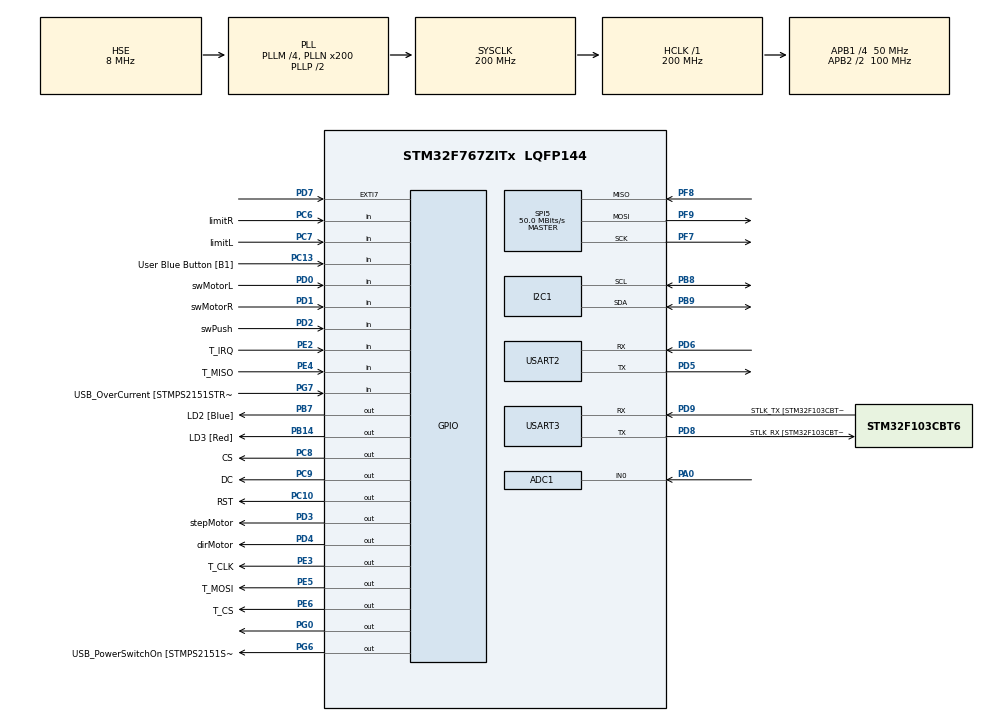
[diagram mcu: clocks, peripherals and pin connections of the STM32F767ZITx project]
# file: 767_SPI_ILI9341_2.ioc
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ADC1.Channel-0\#ChannelRegularConversion=ADC_CHANNEL_0
ADC1.NbrOfConversionFlag=1
ADC1.Rank-0\#ChannelRegularConversion=1
ADC1.SamplingTime-0\#ChannelRegularConversion=ADC_SAMPLETIME_3CYCLES
ADC1.master=1
CORTEX_M7.ART_ACCLERATOR_ENABLE=1
CORTEX_M7.CPU_DCache=Enabled
CORTEX_M7.CPU_ICache=Enabled
CORTEX_M7.PREFETCH_ENABLE=1
I2C1.Timing=0x00C0EAFF
Mcu.Family=STM32F7
Mcu.Name=STM32F767ZITx
Mcu.Package=LQFP144
NVIC.EXTI9_5_IRQn=true\:1\:0\:true\:false\:true\:true\:true\:true
NVIC.PriorityGroup=NVIC_PRIORITYGROUP_4
NVIC.TIM2_IRQn=true\:1\:0\:true\:false\:true\:true\:true\:true
NVIC.USART2_IRQn=true\:1\:0\:true\:false\:true\:true\:true\:true
PA0/WKUP.Signal=ADCx_IN0
PA1.GPIO_Label=RMII_REF_CLK [LAN8742A-CZ-TR_REFCLK0]
PA1.Signal=ETH_REF_CLK
PA13.GPIO_Label=TMS
PA13.Mode=Serial_Wire
PA13.Signal=SYS_JTMS-SWDIO
PA14.GPIO_Label=TCK
PA14.Mode=Serial_Wire
PA14.Signal=SYS_JTCK-SWCLK
PA2.GPIO_Label=RMII_MDIO [LAN8742A-CZ-TR_MDIO]
PA2.Signal=ETH_MDIO
PA7.GPIO_Label=RMII_CRS_DV [LAN8742A-CZ-TR_CRS_DV]
PA7.Signal=ETH_CRS_DV
PB13.GPIO_Label=RMII_TXD1 [LAN8742A-CZ-TR_TXD1]
PB13.Signal=ETH_TXD1
PB14.GPIO_Label=LD3 [Red]
PB14.Signal=GPIO_Output
PB3.GPIO_Label=SWO
PB3.Signal=SYS_JTDO-SWO
PB7.GPIO_Label=LD2 [Blue]
PB7.Signal=GPIO_Output
PB8.Mode=I2C
PB8.Signal=I2C1_SCL
PB9.Mode=I2C
PB9.Signal=I2C1_SDA
PC1.GPIO_Label=RMII_MDC [LAN8742A-CZ-TR_MDC]
PC1.Signal=ETH_MDC
PC10.GPIO_Label=RST
PC10.GPIO_Speed=GPIO_SPEED_FREQ_VERY_HIGH
PC10.Signal=GPIO_Output
PC13.GPIO_Label=User Blue Button [B1]
PC13.Signal=GPIO_Input
PC14/OSC32_IN.Mode=LSE-External-Oscillator
PC14/OSC32_IN.Signal=RCC_OSC32_IN
PC15/OSC32_OUT.Mode=LSE-External-Oscillator
PC15/OSC32_OUT.Signal=RCC_OSC32_OUT
PC4.GPIO_Label=RMII_RXD0 [LAN8742A-CZ-TR_RXD0]
PC4.Signal=ETH_RXD0
PC5.GPIO_Label=RMII_RXD1 [LAN8742A-CZ-TR_RXD1]
PC5.Signal=ETH_RXD1
PC6.GPIO_Label=limitR
PC6.Signal=GPIO_Input
PC7.GPIO_Label=limitL
PC7.Signal=GPIO_Input
PC8.GPIO_Label=CS
PC8.GPIO_Speed=GPIO_SPEED_FREQ_VERY_HIGH
PC8.Signal=GPIO_Output
PC9.GPIO_Label=DC
PC9.GPIO_Speed=GPIO_SPEED_FREQ_VERY_HIGH
PC9.Signal=GPIO_Output
PD0.GPIO_Label=swMotorL
PD0.Signal=GPIO_Input
PD1.GPIO_Label=swMotorR
PD1.Signal=GPIO_Input
PD2.GPIO_Label=swPush
PD2.Signal=GPIO_Input
PD3.GPIO_Label=stepMotor
PD3.Signal=GPIO_Output
PD4.GPIO_Label=dirMotor
PD4.Signal=GPIO_Output
PD5.Mode=Asynchronous
PD5.Signal=USART2_TX
PD6.Mode=Asynchronous
PD6.Signal=USART2_RX
PD7.Signal=GPXTI7
PD8.GPIO_Label=STLK_RX [STM32F103CBT6_PA3]
PD8.Mode=Asynchronous
PD8.Signal=USART3_TX
PD9.GPIO_Label=STLK_TX [STM32F103CBT6_PA2]
PD9.Mode=Asynchronous
PD9.Signal=USART3_RX
PE2.GPIO_Label=T_IRQ
PE2.Signal=GPIO_Input
PE3.GPIO_Label=T_CLK
PE3.GPIO_Speed=GPIO_SPEED_FREQ_VERY_HIGH
PE3.Signal=GPIO_Output
PE4.GPIO_Label=T_MISO
PE4.Signal=GPIO_Input
PE5.GPIO_Label=T_MOSI
PE5.GPIO_Speed=GPIO_SPEED_FREQ_VERY_HIGH
PE5.Signal=GPIO_Output
PE6.GPIO_Label=T_CS
PE6.GPIO_Speed=GPIO_SPEED_FREQ_VERY_HIGH
PE6.Signal=GPIO_Output
PF7.Mode=Full_Duplex_Master
PF7.Signal=SPI5_SCK
PF8.Mode=Full_Duplex_Master
PF8.Signal=SPI5_MISO
PF9.Mode=Full_Duplex_Master
PF9.Signal=SPI5_MOSI
PG0.Signal=GPIO_Output
PG11.GPIO_Label=RMII_TX_EN [LAN8742A-CZ-TR_TXEN]
PG11.Signal=ETH_TX_EN
PG13.GPIO_Label=RMII_TXD0 [LAN8742A-CZ-TR_TXD0]
PG13.Signal=ETH_TXD0
PG6.GPIO_Label=USB_PowerSwitchOn [STMPS2151STR_EN]
PG6.Signal=GPIO_Output
PG7.GPIO_Label=USB_OverCurrent [STMPS2151STR_FAULT]
PG7.Signal=GPIO_Input
PH0/OSC_IN.GPIO_Label=MCO [STM32F103CBT6_PA8]
PH0/OSC_IN.Mode=HSE-External-Clock-Source
PH0/OSC_IN.Signal=RCC_OSC_IN
PH1/OSC_OUT.Mode=HSE-External-Clock-Source
PH1/OSC_OUT.Signal=RCC_OSC_OUT
ProjectManager.HeapSize=0x200
ProjectManager.StackSize=0x400
ProjectManager.TargetToolchain=STM32CubeIDE
RCC.48MHZClocksFreq_Value=24000000
RCC.AHBFreq_Value=200000000
RCC.APB1CLKDivider=RCC_HCLK_DIV4
RCC.APB1Freq_Value=50000000
RCC.APB1TimFreq_Value=100000000
RCC.APB2CLKDivider=RCC_HCLK_DIV2
RCC.APB2Freq_Value=100000000
RCC.APB2TimFreq_Value=200000000
RCC.CortexFreq_Value=200000000
RCC.HCLKFreq_Value=200000000
RCC.HSE_VALUE=8000000
RCC.HSI_VALUE=16000000
RCC.PLLM=4
RCC.PLLMUL=RCC_PLL_MUL9
RCC.PLLN=200
RCC.PLLQ=9
RCC.PLLSourceVirtual=RCC_PLLSOURCE_HSE
RCC.PRESCALERUSB=RCC_USBCLKSOURCE_PLL_DIV1_5
RCC.SYSCLKFreq_VALUE=200000000
RCC.SYSCLKSource=RCC_SYSCLKSOURCE_PLLCLK
RCC.SYSCLKSourceVirtual=RCC_SYSCLKSOURCE_PLLCLK
RCC.USBFreq_Value=44444444.44444445
RCC.VCOOutputFreq_Value=400000000
SH.ADCx_IN0.0=ADC1_IN0,IN0
SPI5.CalculateBaudRate=50.0 MBits/s
SPI5.DataSize=SPI_DATASIZE_8BIT
SPI5.Direction=SPI_DIRECTION_2LINES
SPI5.Mode=SPI_MODE_MASTER
SPI5.NSSPMode=SPI_NSS_PULSE_DISABLE
SPI5.VirtualType=VM_MASTER
TIM1.ClockDivision=TIM_CLOCKDIVISION_DIV2
TIM1.Period=0
TIM1.Prescaler=10000-1
TIM2.Period=10-1
TIM2.Prescaler=100-1
USART2.VirtualMode-Asynchronous=VM_ASYNC
USART3.VirtualMode-Asynchronous=VM_ASYNC
VP_RNG_VS_RNG.Mode=RNG_Activate
VP_TIM1_VS_ClockSourceINT.Mode=Internal
VP_TIM2_VS_ClockSourceINT.Mode=Internal
board=NUCLEO-F767ZI

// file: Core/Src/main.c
/* USER CODE BEGIN Header */
/**
 ******************************************************************************
 * @file           : main.c
 * @brief          : Main program body
 ******************************************************************************
 * @attention
 *
 * <h2><center>&copy; Copyright (c) 2021 STMicroelectronics.
 * All rights reserved.</center></h2>
 *
 * This software component is licensed by ST under BSD 3-Clause license,
 * the "License"; You may not use this file except in compliance with the
 * License. You may obtain a copy of the License at:
 *                        opensource.org/licenses/BSD-3-Clause
 *
 ******************************************************************************
 */
/* USER CODE END Header */
#include "main.h"
#include "adc.h"
#include "i2c.h"
#include "rng.h"
#include "spi.h"
#include "tim.h"
#include "usart.h"
#include "gpio.h"

/* USER CODE BEGIN Includes */
#include "stdio.h"
#include "ILI9341_Touchscreen.h"

#include "ILI9341_STM32_Driver.h"
#include "ILI9341_GFX.h"
#include "math.h"
#include "snow_tiger.h"
#include "img_view.h"
/* USER CODE END Includes */

/* USER CODE BEGIN PV */
/* Private variables ---------------------------------------------------------*/
uint16_t adc_val;
uint32_t count;

HAL_StatusTypeDef status;

void doMotor();

uint8_t mode = 0;
char ch;
uint8_t pWin = 0;

uint8_t playState = 0;
uint8_t isDrawButton = 0;

uint8_t stepsPerRevolution = 0;
uint16_t delayStep = 70;
uint32_t prevActionMotor = 0;
uint8_t isHigh = 0;
uint16_t Hp = 1;
uint16_t lastHp = 0;
uint32_t countPlayTime = 1;
uint32_t lastCountPlayTime = 0;
uint32_t lastCountTime = 0;

uint16_t p2Score;
char fromP2[20] = "";
uint8_t k = 0;

uint32_t debounceSw = 0;

uint8_t readSw1 ;
	uint8_t readSw2 ;
	uint8_t readLimitSw1 ;
	uint8_t readLimitSw2 ;
/* USER CODE END PV */

void SystemClock_Config(void);
/* USER CODE BEGIN PFP */
/* Private function prototypes -----------------------------------------------*/
/* USER CODE END PFP */

int main(void)
{

  /* Enable I-Cache---------------------------------------------------------*/
  SCB_EnableICache();

  /* Enable D-Cache---------------------------------------------------------*/
  SCB_EnableDCache();

  /* MCU Configuration--------------------------------------------------------*/

  /* Reset of all peripherals, Initializes the Flash interface and the Systick. */
  HAL_Init();

  /* Configure the system clock */
  SystemClock_Config();

  /* Initialize all configured peripherals */
  MX_GPIO_Init();
  MX_USART3_UART_Init();
  MX_SPI5_Init();
  MX_TIM1_Init();
  MX_RNG_Init();
  MX_I2C1_Init();
  MX_TIM2_Init();
  MX_ADC1_Init();
  MX_USART2_UART_Init();
  /* USER CODE BEGIN 2 */
	ILI9341_Init(); //initial driver setup to drive ili9341
	ILI9341_Fill_Screen(WHITE);
	HAL_TIM_Base_Start_IT(&htim2);
  /* USER CODE END 2 */

  /* Infinite loop */
	while (1) {

    /* USER CODE BEGIN 3 */
		if (playState == 0) {
			state0();
		} else if (playState == 1) {
			state1();
		} else if (playState == 2) {
			state2();
		} else if (playState == 3) {
			state3();
		} else if (playState == 4) {
			state4();
			play();
		} else if (playState == 5) {
			state5();
			play();
		} else if (playState == 6) {
			state6();
		}
		//play();

	}
  /* USER CODE END 3 */
}

void SystemClock_Config(void)
{
  RCC_OscInitTypeDef RCC_OscInitStruct = {0};
  RCC_ClkInitTypeDef RCC_ClkInitStruct = {0};
  RCC_PeriphCLKInitTypeDef PeriphClkInitStruct = {0};

  /** Configure LSE Drive Capability
  */
  HAL_PWR_EnableBkUpAccess();
  /** Configure the main internal regulator output voltage
  */
  __HAL_RCC_PWR_CLK_ENABLE();
  __HAL_PWR_VOLTAGESCALING_CONFIG(PWR_REGULATOR_VOLTAGE_SCALE1);
  /** Initializes the RCC Oscillators according to the specified parameters
  * in the RCC_OscInitTypeDef structure.
  */
  RCC_OscInitStruct.OscillatorType = RCC_OSCILLATORTYPE_HSE;
  RCC_OscInitStruct.HSEState = RCC_HSE_BYPASS;
  RCC_OscInitStruct.PLL.PLLState = RCC_PLL_ON;
  RCC_OscInitStruct.PLL.PLLSource = RCC_PLLSOURCE_HSE;
  RCC_OscInitStruct.PLL.PLLM = 4;
  RCC_OscInitStruct.PLL.PLLN = 200;
  RCC_OscInitStruct.PLL.PLLP = RCC_PLLP_DIV2;
  RCC_OscInitStruct.PLL.PLLQ = 9;
  RCC_OscInitStruct.PLL.PLLR = 2;
  if (HAL_RCC_OscConfig(&RCC_OscInitStruct) != HAL_OK)
  {
    Error_Handler();
  }
  /** Activate the Over-Drive mode
  */
  if (HAL_PWREx_EnableOverDrive() != HAL_OK)
  {
    Error_Handler();
  }
  /** Initializes the CPU, AHB and APB buses clocks
  */
  RCC_ClkInitStruct.ClockType = RCC_CLOCKTYPE_HCLK|RCC_CLOCKTYPE_SYSCLK
                              |RCC_CLOCKTYPE_PCLK1|RCC_CLOCKTYPE_PCLK2;
  RCC_ClkInitStruct.SYSCLKSource = RCC_SYSCLKSOURCE_PLLCLK;
  RCC_ClkInitStruct.AHBCLKDivider = RCC_SYSCLK_DIV1;
  RCC_ClkInitStruct.APB1CLKDivider = RCC_HCLK_DIV4;
  RCC_ClkInitStruct.APB2CLKDivider = RCC_HCLK_DIV2;

  if (HAL_RCC_ClockConfig(&RCC_ClkInitStruct, FLASH_LATENCY_6) != HAL_OK)
  {
    Error_Handler();
  }
  PeriphClkInitStruct.PeriphClockSelection = RCC_PERIPHCLK_USART2|RCC_PERIPHCLK_USART3
                              |RCC_PERIPHCLK_I2C1|RCC_PERIPHCLK_CLK48;
  PeriphClkInitStruct.Usart2ClockSelection = RCC_USART2CLKSOURCE_PCLK1;
  PeriphClkInitStruct.Usart3ClockSelection = RCC_USART3CLKSOURCE_PCLK1;
  PeriphClkInitStruct.I2c1ClockSelection = RCC_I2C1CLKSOURCE_PCLK1;
  PeriphClkInitStruct.Clk48ClockSelection = RCC_CLK48SOURCE_PLL;
  if (HAL_RCCEx_PeriphCLKConfig(&PeriphClkInitStruct) != HAL_OK)
  {
    Error_Handler();
  }
}

/* USER CODE BEGIN 4 */

void doMotor() {
	if (count - prevActionMotor > delayStep && stepsPerRevolution > 0) {
		HAL_GPIO_WritePin(GPIOD, GPIO_PIN_3, isHigh);
		isHigh = abs(isHigh - 1);
		prevActionMotor = count;
		stepsPerRevolution--;
	} else if (stepsPerRevolution <= 0) {
		HAL_GPIO_WritePin(GPIOD, GPIO_PIN_3, 0);
	}
}

void play() {
	HAL_ADC_Start(&hadc1);
	while (HAL_ADC_PollForConversion(&hadc1, 100) != HAL_OK)
		;
	adc_val = HAL_ADC_GetValue(&hadc1);
	//delayStep = (int) (((float) adc_val / 4095) * 2000) + 500;
	readSw1 = HAL_GPIO_ReadPin(GPIOD, GPIO_PIN_0);
	readSw2 = HAL_GPIO_ReadPin(GPIOD, GPIO_PIN_1);
	readLimitSw1 = HAL_GPIO_ReadPin(GPIOC, GPIO_PIN_7);
	readLimitSw2 = HAL_GPIO_ReadPin(GPIOC, GPIO_PIN_6);
	if (readSw1 == 0 && readLimitSw1 != 1) {
		stepsPerRevolution = 8;
		HAL_GPIO_WritePin(GPIOD, GPIO_PIN_4, 1);
	}
	if (readSw2 == 0 && readLimitSw2 != 1) {
		stepsPerRevolution = 8;
		HAL_GPIO_WritePin(GPIOD, GPIO_PIN_4, 0);
	}
	HAL_GPIO_WritePin(GPIOG, GPIO_PIN_0,!HAL_GPIO_ReadPin(GPIOD, GPIO_PIN_2));
	doMotor();
}

void state0() {
	ILI9341_Set_Rotation(SCREEN_HORIZONTAL_1);
	ILI9341_Draw_Text("Hokey Hokey", 65, 35, BLACK, 3, WHITE);
	if (isDrawButton == 0) {
		ILI9341_Draw_Rectangle(60, 70, 200, 120, RED);
		ILI9341_Draw_Text("PLAY", 105, 110, WHITE, 5, RED);
		isDrawButton = 1;
	}
	if (TP_Touchpad_Pressed()) {
		uint16_t x_pos = 0;
		uint16_t y_pos = 0;
		uint16_t position_array[2];

		if (TP_Read_Coordinates(position_array) == TOUCHPAD_DATA_OK) {
			y_pos = 240 - position_array[0];
			x_pos = position_array[1];
			if (y_pos >= 70 && y_pos <= 190 && x_pos >= 60 && x_pos <= 260) {
				playState = 1;
				isDrawButton = 0;
				HAL_Delay(400);
				ILI9341_Fill_Screen(WHITE);
			}
		}

	}
}
void state1() {
	ILI9341_Set_Rotation(SCREEN_HORIZONTAL_1);
	ILI9341_Draw_Text("Select Mode", 65, 35, BLACK, 3, WHITE);
	if (isDrawButton == 0) {
		ILI9341_Draw_Rectangle(55, 80, 210, 50, RED);
		ILI9341_Draw_Text("No time to limit", 67, 97, WHITE, 2, RED);
		ILI9341_Draw_Rectangle(55, 145, 210, 50, RED);
		ILI9341_Draw_Text("limit time", 102, 162, WHITE, 2, RED);
		isDrawButton = 1;
	}
	if (TP_Touchpad_Pressed()) {
		uint16_t x_pos = 0;
		uint16_t y_pos = 0;
		uint16_t position_array[2];

		if (TP_Read_Coordinates(position_array) == TOUCHPAD_DATA_OK) {
			y_pos = 240 - position_array[0];
			x_pos = position_array[1];
			if (y_pos >= 80 && y_pos <= 130 && x_pos >= 55 && x_pos <= 265) {
				playState = 2;
				isDrawButton = 0;
				HAL_Delay(400);
				ILI9341_Fill_Screen(WHITE);
			}
			if (y_pos >= 145 && y_pos <= 195 && x_pos >= 55 && x_pos <= 265) {
				playState = 3;
				isDrawButton = 0;
				HAL_Delay(400);
				ILI9341_Fill_Screen(WHITE);
			}
		}

	}
}

void state2() {
	if (isDrawButton == 0) {
		ILI9341_Set_Rotation(SCREEN_HORIZONTAL_1);
		ILI9341_Draw_Text("Select max hp", 30, 35, BLACK, 3, WHITE);
		ILI9341_Draw_Rectangle(110, 180, 100, 40, RED);
		ILI9341_Draw_Text("start", 117, 187, WHITE, 3, RED);

		ILI9341_Draw_Filled_Circle(70, 115, 30, RED);
		ILI9341_Draw_Text("down", 48, 108, WHITE, 2, RED);

		ILI9341_Draw_Filled_Circle(250, 115, 30, RED);
		ILI9341_Draw_Text("up", 243, 108, WHITE, 2, RED);
		isDrawButton = 1;
	}
	if (lastHp != Hp) {
		char str[20];
		ILI9341_Draw_Rectangle(120, 75, 80, 80, BLACK);
		sprintf(str, "%d", Hp);
		uint8_t x = 0;
		if (strlen(str) == 1) {
			ILI9341_Draw_Text("0", 138, 100, WHITE, 4, BLACK);
			x = 27;
		}
		ILI9341_Draw_Text(str, 138 + x, 100, WHITE, 4, BLACK);
		lastHp = Hp;
	}
	if (TP_Touchpad_Pressed()) {
		uint16_t x_pos = 0;
		uint16_t y_pos = 0;
		uint16_t position_array[2];

		if (TP_Read_Coordinates(position_array) == TOUCHPAD_DATA_OK) {
			y_pos = 240 - position_array[0];
			x_pos = position_array[1];
			if (y_pos >= 180 && y_pos <= 220 && x_pos >= 110 && x_pos <= 210) {
				playState = 4;
				isDrawButton = 0;
				lastHp = -1;
				mode = 1;
				char str[20];
				sprintf(str, "1 %d", Hp);
				while (__HAL_UART_GET_FLAG(&huart2,UART_FLAG_TC) == RESET) {
				}
				HAL_UART_Transmit(&huart2, (uint8_t*) str, strlen(str), 100);
				ILI9341_Fill_Screen(WHITE);
			}
			if (sqrt(pow(x_pos - 70, 2) + pow(y_pos - 115, 2)) <= 30) {
				if (Hp > 1) {
					Hp--;
					HAL_Delay(100);
				}
			}
			if (sqrt(pow(x_pos - 250, 2) + pow(y_pos - 115, 2)) <= 30) {

				if (Hp < 99) {
					Hp++;
					HAL_Delay(100);
				}
			}
		}

	}
}
void state3() {
	if (isDrawButton == 0) {
		ILI9341_Set_Rotation(SCREEN_HORIZONTAL_1);
		ILI9341_Draw_Text("Select time to end", 40, 35, BLACK, 2, WHITE);
		ILI9341_Draw_Rectangle(110, 180, 100, 40, RED);
		ILI9341_Draw_Text("start", 117, 187, WHITE, 3, RED);

		ILI9341_Draw_Filled_Circle(55, 115, 30, RED);
		ILI9341_Draw_Text("down", 33, 108, WHITE, 2, RED);

		ILI9341_Draw_Filled_Circle(250, 115, 30, RED);
		ILI9341_Draw_Text("up", 243, 108, WHITE, 2, RED);
		isDrawButton = 1;
	}
	if (lastCountPlayTime != countPlayTime) {
		char str[20];
		ILI9341_Draw_Rectangle(93, 75, 122, 80, BLACK);
		sprintf(str, "%d", countPlayTime);
		uint8_t x = 0;
		if (strlen(str) == 1) {
			ILI9341_Draw_Text("0", 105, 100, WHITE, 4, BLACK);
			x = 27;
		}
		ILI9341_Draw_Text(str, 105 + x, 100, WHITE, 4, BLACK);
		ILI9341_Draw_Text("min", 160, 105, WHITE, 3, BLACK);
		lastCountPlayTime = countPlayTime;
	}
	if (TP_Touchpad_Pressed()) {
		uint16_t x_pos = 0;
		uint16_t y_pos = 0;
		uint16_t position_array[2];

		if (TP_Read_Coordinates(position_array) == TOUCHPAD_DATA_OK) {
			y_pos = 240 - position_array[0];
			x_pos = position_array[1];
			if (y_pos >= 180 && y_pos <= 220 && x_pos >= 110 && x_pos <= 210) {
				playState = 5;
				isDrawButton = 0;
				Hp = 0;
				lastHp = -1;
				countPlayTime = countPlayTime * 60;
				mode = 2;
				char str[20];
				sprintf(str, "2 %d", countPlayTime);
				while (__HAL_UART_GET_FLAG(&huart2,UART_FLAG_TC) == RESET) {
				}
				HAL_UART_Transmit(&huart2, (uint8_t*) str, strlen(str), 100);
				ILI9341_Fill_Screen(WHITE);
			}
			if (sqrt(pow(x_pos - 55, 2) + pow(y_pos - 115, 2)) <= 30) {
				if (countPlayTime > 1) {
					countPlayTime--;
					HAL_Delay(100);
				}
			}
			if (sqrt(pow(x_pos - 250, 2) + pow(y_pos - 115, 2)) <= 30) {

				if (countPlayTime < 99) {
					countPlayTime++;
					HAL_Delay(100);
				}
			}
		}

	}
}
void state4() {
	if (isDrawButton == 0) {
		ILI9341_Set_Rotation(SCREEN_HORIZONTAL_1);
		ILI9341_Draw_Text("your hp", 100, 35, BLACK, 3, WHITE);
		isDrawButton = 1;
	}
	if (lastHp != Hp) {
		char str[20];
		ILI9341_Draw_Rectangle(120, 75, 80, 80, BLACK);
		sprintf(str, "%d", Hp);
		uint8_t x = 0;
		if (strlen(str) == 1) {
			ILI9341_Draw_Text("0", 138, 100, WHITE, 4, BLACK);
			x = 27;
		}
		ILI9341_Draw_Text(str, 138 + x, 100, WHITE, 4, BLACK);
		lastHp = Hp;
	}
	if (Hp <= 0) {
		while (__HAL_UART_GET_FLAG(&huart2,UART_FLAG_TC) == RESET) {
		}
		HAL_UART_Transmit(&huart2, (uint8_t*) "e", 1, 100);
		ILI9341_Fill_Screen(WHITE);
		pWin = 2;
		playState = 6;
	}
}
void state5() {
	if (isDrawButton == 0) {
		ILI9341_Set_Rotation(SCREEN_HORIZONTAL_1);
		ILI9341_Draw_Text("time", 125, 35, BLACK, 3, WHITE);
		ILI9341_Draw_Text("your score", 70, 135, BLACK, 3, WHITE);
		isDrawButton = 1;
	}
	if (lastCountPlayTime != countPlayTime) {
		uint8_t min = countPlayTime / 60;
		uint8_t sec = countPlayTime - (((int) (countPlayTime / 60)) * 60);
		char str[20];
		ILI9341_Draw_Rectangle(75, 60, 170, 40, BLACK);
		sprintf(str, "%d", min);
		uint8_t x = 0;
		if (strlen(str) == 1) {
			ILI9341_Draw_Text("0", 108, 62, WHITE, 4, BLACK);
			x = 27;
		}
		ILI9341_Draw_Text(str, 108 + x, 62, WHITE, 4, BLACK);
		ILI9341_Draw_Text(":", 162, 62, WHITE, 4, BLACK);
		sprintf(str, "%d", sec);
		x = 0;
		if (strlen(str) == 1) {
			ILI9341_Draw_Text("0", 173, 62, WHITE, 4, BLACK);
			x = 27;
		}
		ILI9341_Draw_Text(str, 173 + x, 62, WHITE, 4, BLACK);
		lastCountPlayTime = countPlayTime;
	}
	if (count - lastCountTime > 100000 && countPlayTime > 0) {
		countPlayTime--;
		lastCountTime = count;
	}
	if (lastHp != Hp) {
		char str[20];
		ILI9341_Draw_Rectangle(120, 160, 80, 40, BLACK);
		sprintf(str, "%d", Hp);
		uint8_t x = 0;
		if (strlen(str) == 1) {
			ILI9341_Draw_Text("0", 138, 162, WHITE, 4, BLACK);
			x = 27;
		}
		ILI9341_Draw_Text(str, 138 + x, 162, WHITE, 4, BLACK);
		lastHp = Hp;
	}
//	if (countPlayTime <= 0) {
////		ILI9341_Fill_Screen(WHITE);
////		playState = 6;
//	}

}
void state6() {
	if (pWin == 2) {
		ILI9341_Draw_Text("player 2 win", 100, 100, BLACK, 4, WHITE);
	} else if (pWin == 1) {
		ILI9341_Draw_Text("player 1 win", 100, 100, BLACK, 4, WHITE);
	} else if (pWin == 3) {
		ILI9341_Draw_Text("Draw", 100, 100, BLACK, 4, WHITE);
	}
}
void HAL_GPIO_EXTI_Callback(uint16_t GPIO_Pin) {
	if (GPIO_Pin == GPIO_PIN_7) {
		if (mode == 1) {
			if (count - debounceSw > 20000) {
				Hp--;
				debounceSw = count;
			}
		} else if (mode == 2) {
			if (count - debounceSw > 20000) {
				while (__HAL_UART_GET_FLAG(&huart2,UART_FLAG_TC) == RESET) {
				}
				HAL_UART_Transmit(&huart2, (uint8_t*) "h", 1, 100);
				debounceSw = count;
			}
		}
	}
}
void HAL_UART_RxCpltCallback(UART_HandleTypeDef *huart) {

	if (huart == &huart2) {
		HAL_UART_Receive_IT(&huart2, (uint8_t*) &ch, 1);
		if (mode == 1) {
			if (ch == 'e') {
				pWin = 1;
				playState = 6;
			}
		} else if (mode == 2) {
			if (ch == '\n') {
				uint8_t i = 0, result = 0;
				for (i = 0; i < k; i++) {
					result = result * 10 + (fromP2[i] - '0');
				}
				if (Hp > result) {
					pWin = 1;
					playState = 6;
					while (__HAL_UART_GET_FLAG(&huart2,UART_FLAG_TC) == RESET) {
					}
					HAL_UART_Transmit(&huart2, (uint8_t*) "1", 1, 100);
				} else if (Hp < result) {
					pWin = 2;
					playState = 6;
					while (__HAL_UART_GET_FLAG(&huart2,UART_FLAG_TC) == RESET) {
					}
					HAL_UART_Transmit(&huart2, (uint8_t*) "2", 1, 100);
				} else {
					pWin = 3;
					playState = 6;
					while (__HAL_UART_GET_FLAG(&huart2,UART_FLAG_TC) == RESET) {
					}
					HAL_UART_Transmit(&huart2, (uint8_t*) "3", 1, 100);
				}
			}
			fromP2[k] = ch;
			k++;
		}
	}
}

/* USER CODE END 4 */

void Error_Handler(void)
{
	while (1) {
	}
}

/************************ (C) COPYRIGHT STMicroelectronics *****END OF FILE****/
